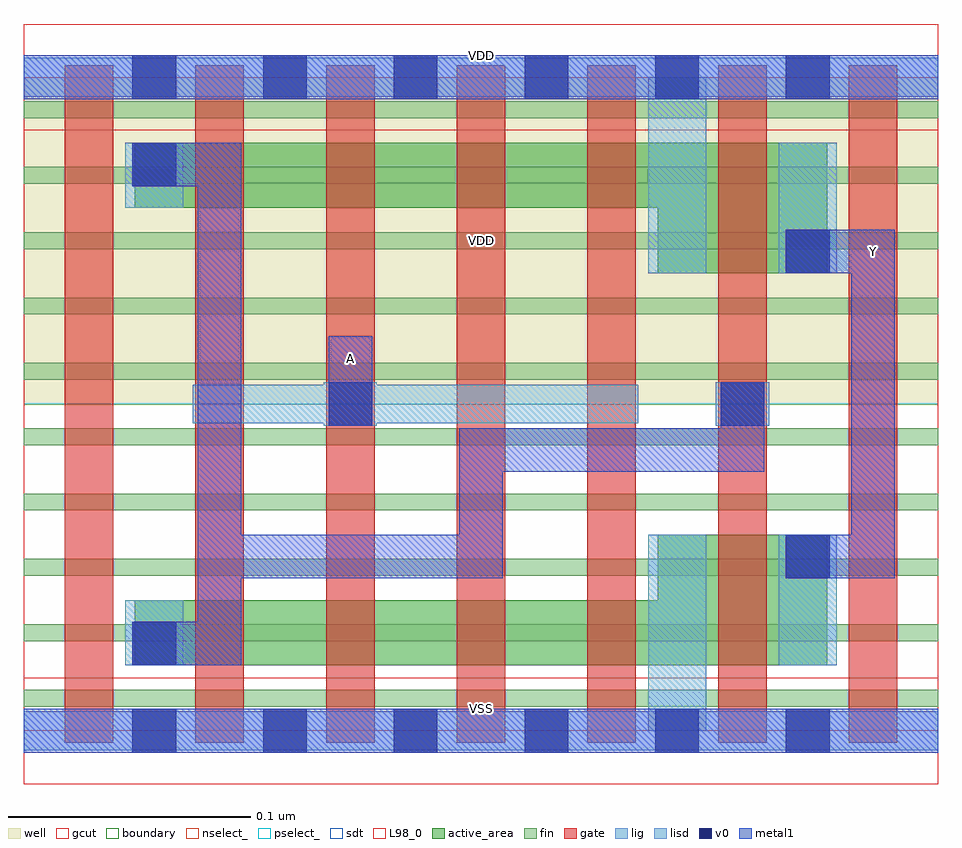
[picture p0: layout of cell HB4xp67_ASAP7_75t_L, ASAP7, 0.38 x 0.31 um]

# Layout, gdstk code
import gdstk
lib = gdstk.Library(unit=1e-6, precision=2.5e-10)
def R(c, l, rs):  # rectangles x0, y0, x1, y1
    for r in rs: c.add(gdstk.rectangle(r[:2], r[2:], *l))
def A(c, l, x, y, w, h, nx, ny, dx, dy):  # array of equal rectangles
    R(c, l, [(x+i*dx, y+j*dy, x+i*dx+w, y+j*dy+h) for i in range(nx) for j in range(ny)])
def P(c, l, *ps):  # polygons
    for p in ps: c.add(gdstk.Polygon(p, *l))
well = (1, 0)
fin = (2, 0)
gate = (7, 0)
gcut = (10, 0)
active_area = (11, 0)
nselect_ = (12, 0)
pselect_ = (13, 0)
lig = (16, 0)
lisd = (17, 0)
v0 = (18, 0)
metal1 = (19, 0)
sdt = (88, 0)
L98_0 = (98, 0)
boundary = (100, 0)

hb4xp67_asap7_75t_l = lib.new_cell('HB4xp67_ASAP7_75t_L')
R(hb4xp67_asap7_75t_l, well, [(0,0.135,0.378,0.27)])
A(hb4xp67_asap7_75t_l, fin, 0, 0.01, 0.378, 0.007, 1, 10, 0, 0.027)
A(hb4xp67_asap7_75t_l, gate, 0.017, -0.005, 0.02, 0.28, 7, 1, 0.054, 0)
R(hb4xp67_asap7_75t_l, gcut, [(0,-0.022,0.378,0.022), (0,0.248,0.378,0.292)])
P(hb4xp67_asap7_75t_l, active_area, [(0.332,0.081),(0.262,0.081),(0.262,0.054),(0.046,0.054),(0.046,0.027),(0.332,0.027)],
  [(0.046,0.216),(0.262,0.216),(0.262,0.189),(0.332,0.189),(0.332,0.243),(0.046,0.243)])
R(hb4xp67_asap7_75t_l, nselect_, [(0,0,0.378,0.135)])
R(hb4xp67_asap7_75t_l, pselect_, [(0,0.135,0.378,0.27)])
R(hb4xp67_asap7_75t_l, lig, [(0,-0.008,0.378,0.008), (0.124,0.126,0.146,0.144), (0.286,0.126,0.308,0.144), (0.07,0.127,0.254,0.143), (0,0.262,0.378,0.278)])
R(hb4xp67_asap7_75t_l, lisd, [(0.258,0,0.282,0.081), (0.258,0,0.282,0.081), (0.042,0.027,0.066,0.054), (0.312,0.027,0.336,0.081), (0.258,0.189,0.282,0.27), (0.258,0.189,0.282,0.27), (0.312,0.189,0.336,0.243), (0.042,0.216,0.066,0.243)])
A(hb4xp67_asap7_75t_l, v0, 0.045, -0.009, 0.018, 0.018, 6, 2, 0.054, 0.27)
R(hb4xp67_asap7_75t_l, v0, [(0.045,0.027,0.063,0.045), (0.315,0.063,0.333,0.081), (0.126,0.126,0.144,0.144), (0.288,0.126,0.306,0.144), (0.315,0.189,0.333,0.207), (0.045,0.225,0.063,0.243)])
R(hb4xp67_asap7_75t_l, metal1, [(0,-0.009,0.378,0.009), (0.045,0.027,0.063,0.045), (0.315,0.063,0.333,0.081), (0.126,0.126,0.144,0.144), (0.126,0.126,0.144,0.163), (0.288,0.126,0.306,0.144), (0.315,0.189,0.333,0.207), (0.045,0.225,0.063,0.243), (0,0.261,0.378,0.279)])
P(hb4xp67_asap7_75t_l, metal1, [(0.306,0.144),(0.288,0.144),(0.288,0.125),(0.18,0.125),(0.18,0.081),(0.09,0.081),(0.09,0.243),(0.045,0.243),(0.045,0.225),(0.072,0.225),(0.072,0.045),(0.045,0.045),(0.045,0.027),(0.09,0.027),(0.09,0.063),(0.198,0.063),(0.198,0.107),(0.306,0.107)],
  [(0.315,0.207),(0.315,0.189),(0.342,0.189),(0.342,0.081),(0.315,0.081),(0.315,0.063),(0.36,0.063),(0.36,0.207)])
R(hb4xp67_asap7_75t_l, sdt, [(0.042,0.027,0.066,0.054), (0.258,0.027,0.282,0.081), (0.258,0.027,0.282,0.081), (0.312,0.027,0.336,0.081), (0.258,0.189,0.282,0.243), (0.258,0.189,0.282,0.243), (0.312,0.189,0.336,0.243), (0.042,0.216,0.066,0.243)])
R(hb4xp67_asap7_75t_l, L98_0, [(0,0,0.378,0.27)])
R(hb4xp67_asap7_75t_l, boundary, [(0,0,0.378,0.27)])
hb4xp67_asap7_75t_l.add(gdstk.Label('VDD', (0.189,0.2025), layer=1, texttype=251))
hb4xp67_asap7_75t_l.add(gdstk.Label('VSS', (0.189,-0.0675), layer=3, texttype=251))
hb4xp67_asap7_75t_l.add(gdstk.Label('VSS', (0.189,0.009), layer=19, texttype=251))
hb4xp67_asap7_75t_l.add(gdstk.Label('VDD', (0.189,0.279), layer=19, texttype=251))
hb4xp67_asap7_75t_l.add(gdstk.Label('A', (0.135,0.154), layer=19, texttype=251))
hb4xp67_asap7_75t_l.add(gdstk.Label('Y', (0.351,0.198), layer=19, texttype=251))

lib.write_gds('HB4xp67_ASAP7_75t_L.gds')
